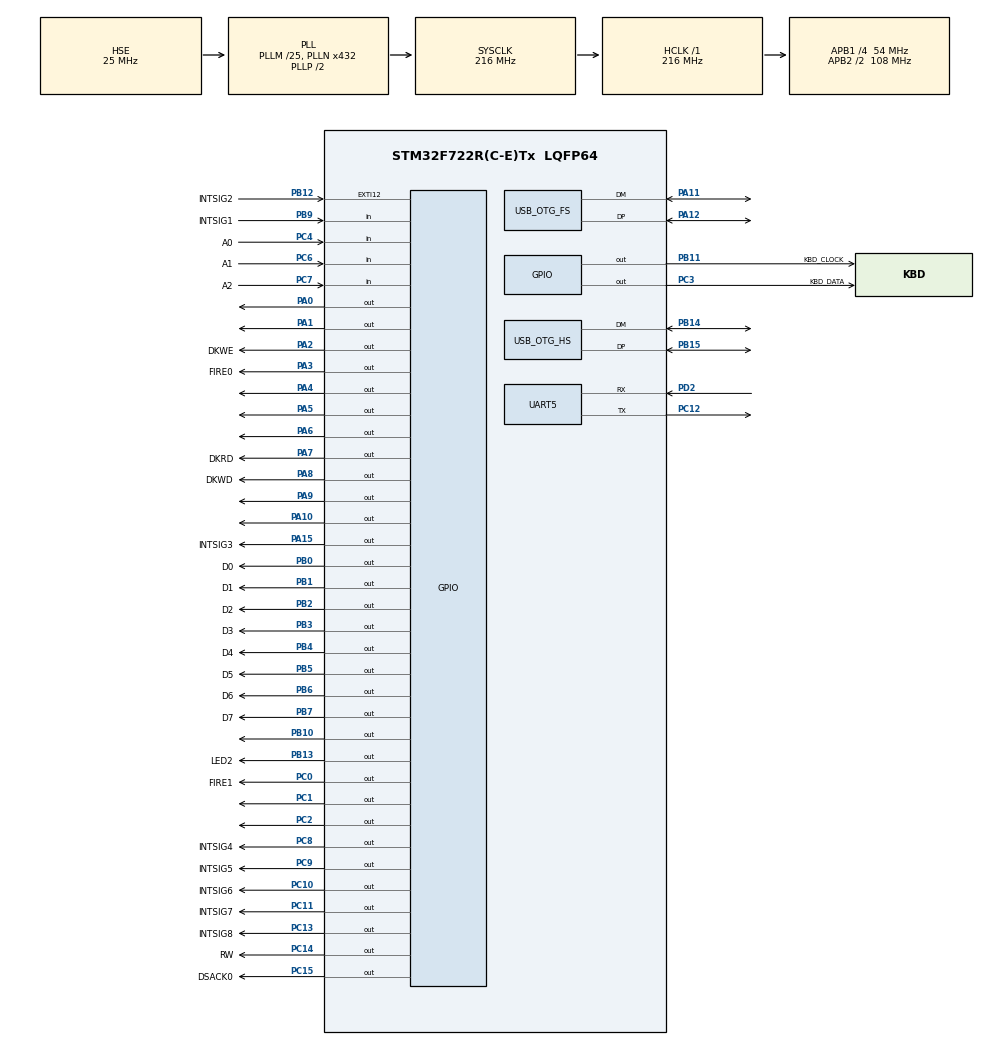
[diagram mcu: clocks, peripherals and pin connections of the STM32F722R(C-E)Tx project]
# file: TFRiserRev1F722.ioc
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Mcu.Family=STM32F7
Mcu.Name=STM32F722R(C-E)Tx
Mcu.Package=LQFP64
NVIC.EXTI15_10_IRQn=true\:0\:0\:false\:false\:true\:true\:true
NVIC.OTG_FS_IRQn=true\:0\:0\:false\:false\:true\:false\:true
NVIC.OTG_HS_IRQn=true\:0\:0\:false\:false\:true\:false\:true
NVIC.PriorityGroup=NVIC_PRIORITYGROUP_4
PA0-WKUP.GPIO_ModeDefaultOutputPP=GPIO_MODE_OUTPUT_OD
PA0-WKUP.PinState=GPIO_PIN_SET
PA0-WKUP.Signal=GPIO_Output
PA1.GPIO_ModeDefaultOutputPP=GPIO_MODE_OUTPUT_OD
PA1.GPIO_PuPd=GPIO_NOPULL
PA1.PinState=GPIO_PIN_SET
PA1.Signal=GPIO_Output
PA10.GPIO_ModeDefaultOutputPP=GPIO_MODE_OUTPUT_OD
PA10.PinState=GPIO_PIN_SET
PA10.Signal=GPIO_Output
PA11.Mode=Host_Only
PA11.Signal=USB_OTG_FS_DM
PA12.Mode=Host_Only
PA12.Signal=USB_OTG_FS_DP
PA13.Mode=Serial_Wire
PA13.Signal=SYS_JTMS-SWDIO
PA14.Mode=Serial_Wire
PA14.Signal=SYS_JTCK-SWCLK
PA15.GPIO_Label=INTSIG3
PA15.GPIO_ModeDefaultOutputPP=GPIO_MODE_OUTPUT_OD
PA15.PinState=GPIO_PIN_SET
PA15.Signal=GPIO_Output
PA2.GPIO_Label=DKWE
PA2.GPIO_ModeDefaultOutputPP=GPIO_MODE_OUTPUT_OD
PA2.PinState=GPIO_PIN_SET
PA2.Signal=GPIO_Output
PA3.GPIO_Label=FIRE0
PA3.GPIO_ModeDefaultOutputPP=GPIO_MODE_OUTPUT_OD
PA3.PinState=GPIO_PIN_SET
PA3.Signal=GPIO_Output
PA4.GPIO_ModeDefaultOutputPP=GPIO_MODE_OUTPUT_OD
PA4.PinState=GPIO_PIN_SET
PA4.Signal=GPIO_Output
PA5.GPIO_ModeDefaultOutputPP=GPIO_MODE_OUTPUT_OD
PA5.PinState=GPIO_PIN_SET
PA5.Signal=GPIO_Output
PA6.GPIO_ModeDefaultOutputPP=GPIO_MODE_OUTPUT_OD
PA6.GPIO_PuPd=GPIO_NOPULL
PA6.PinState=GPIO_PIN_SET
PA6.Signal=GPIO_Output
PA7.GPIO_Label=DKRD
PA7.GPIO_ModeDefaultOutputPP=GPIO_MODE_OUTPUT_OD
PA7.PinState=GPIO_PIN_SET
PA7.Signal=GPIO_Output
PA8.GPIO_Label=DKWD
PA8.GPIO_ModeDefaultOutputPP=GPIO_MODE_OUTPUT_OD
PA8.PinState=GPIO_PIN_SET
PA8.Signal=GPIO_Output
PA9.GPIO_ModeDefaultOutputPP=GPIO_MODE_OUTPUT_OD
PA9.PinState=GPIO_PIN_SET
PA9.Signal=GPIO_Output
PB0.GPIO_Label=D0
PB0.GPIO_ModeDefaultOutputPP=GPIO_MODE_OUTPUT_OD
PB0.GPIO_Speed=GPIO_SPEED_FREQ_HIGH
PB0.PinState=GPIO_PIN_SET
PB0.Signal=GPIO_Output
PB1.GPIO_Label=D1
PB1.GPIO_ModeDefaultOutputPP=GPIO_MODE_OUTPUT_OD
PB1.GPIO_Speed=GPIO_SPEED_FREQ_HIGH
PB1.PinState=GPIO_PIN_SET
PB1.Signal=GPIO_Output
PB10.GPIO_ModeDefaultOutputPP=GPIO_MODE_OUTPUT_OD
PB10.PinState=GPIO_PIN_SET
PB10.Signal=GPIO_Output
PB11.GPIO_Label=KBD_CLOCK
PB11.Signal=GPIO_Output
PB12.GPIO_Label=INTSIG2
PB12.Signal=GPXTI12
PB13.GPIO_Label=LED2
PB13.GPIO_ModeDefaultOutputPP=GPIO_MODE_OUTPUT_OD
PB13.PinState=GPIO_PIN_SET
PB13.Signal=GPIO_Output
PB14.Mode=Internal_Phy_Host
PB14.Signal=USB_OTG_HS_DM
PB15.Mode=Internal_Phy_Host
PB15.Signal=USB_OTG_HS_DP
PB2.GPIO_Label=D2
PB2.GPIO_ModeDefaultOutputPP=GPIO_MODE_OUTPUT_OD
PB2.GPIO_Speed=GPIO_SPEED_FREQ_HIGH
PB2.PinState=GPIO_PIN_SET
PB2.Signal=GPIO_Output
PB3.GPIO_Label=D3
PB3.GPIO_ModeDefaultOutputPP=GPIO_MODE_OUTPUT_OD
PB3.GPIO_Speed=GPIO_SPEED_FREQ_HIGH
PB3.PinState=GPIO_PIN_SET
PB3.Signal=GPIO_Output
PB4.GPIO_Label=D4
PB4.GPIO_ModeDefaultOutputPP=GPIO_MODE_OUTPUT_OD
PB4.GPIO_Speed=GPIO_SPEED_FREQ_HIGH
PB4.PinState=GPIO_PIN_SET
PB4.Signal=GPIO_Output
PB5.GPIO_Label=D5
PB5.GPIO_ModeDefaultOutputPP=GPIO_MODE_OUTPUT_OD
PB5.GPIO_Speed=GPIO_SPEED_FREQ_HIGH
PB5.PinState=GPIO_PIN_SET
PB5.Signal=GPIO_Output
PB6.GPIO_Label=D6
PB6.GPIO_ModeDefaultOutputPP=GPIO_MODE_OUTPUT_OD
PB6.GPIO_Speed=GPIO_SPEED_FREQ_HIGH
PB6.PinState=GPIO_PIN_SET
PB6.Signal=GPIO_Output
PB7.GPIO_Label=D7
PB7.GPIO_ModeDefaultOutputPP=GPIO_MODE_OUTPUT_OD
PB7.GPIO_Speed=GPIO_SPEED_FREQ_HIGH
PB7.PinState=GPIO_PIN_SET
PB7.Signal=GPIO_Output
PB9.GPIO_Label=INTSIG1
PB9.Signal=GPIO_Input
PC0.GPIO_Label=FIRE1
PC0.GPIO_ModeDefaultOutputPP=GPIO_MODE_OUTPUT_OD
PC0.PinState=GPIO_PIN_SET
PC0.Signal=GPIO_Output
PC1.GPIO_ModeDefaultOutputPP=GPIO_MODE_OUTPUT_OD
PC1.PinState=GPIO_PIN_SET
PC1.Signal=GPIO_Output
PC10.GPIO_Label=INTSIG6
PC10.GPIO_ModeDefaultOutputPP=GPIO_MODE_OUTPUT_OD
PC10.PinState=GPIO_PIN_SET
PC10.Signal=GPIO_Output
PC11.GPIO_Label=INTSIG7
PC11.GPIO_ModeDefaultOutputPP=GPIO_MODE_OUTPUT_OD
PC11.PinState=GPIO_PIN_SET
PC11.Signal=GPIO_Output
PC12.Mode=Asynchronous
PC12.Signal=UART5_TX
PC13.GPIO_Label=INTSIG8
PC13.GPIO_ModeDefaultOutputPP=GPIO_MODE_OUTPUT_OD
PC13.PinState=GPIO_PIN_SET
PC13.Signal=GPIO_Output
PC14-OSC32_IN.GPIO_Label=RW
PC14-OSC32_IN.GPIO_ModeDefaultOutputPP=GPIO_MODE_OUTPUT_OD
PC14-OSC32_IN.PinState=GPIO_PIN_SET
PC14-OSC32_IN.Signal=GPIO_Output
PC15-OSC32_OUT.GPIO_Label=DSACK0
PC15-OSC32_OUT.GPIO_ModeDefaultOutputPP=GPIO_MODE_OUTPUT_OD
PC15-OSC32_OUT.PinState=GPIO_PIN_SET
PC15-OSC32_OUT.Signal=GPIO_Output
PC2.GPIO_ModeDefaultOutputPP=GPIO_MODE_OUTPUT_OD
PC2.PinState=GPIO_PIN_SET
PC2.Signal=GPIO_Output
PC3.GPIO_Label=KBD_DATA
PC3.Signal=GPIO_Output
PC4.GPIO_Label=A0
PC4.Signal=GPIO_Input
PC6.GPIO_Label=A1
PC6.Signal=GPIO_Input
PC7.GPIO_Label=A2
PC7.Signal=GPIO_Input
PC8.GPIO_Label=INTSIG4
PC8.GPIO_ModeDefaultOutputPP=GPIO_MODE_OUTPUT_OD
PC8.PinState=GPIO_PIN_SET
PC8.Signal=GPIO_Output
PC9.GPIO_Label=INTSIG5
PC9.GPIO_ModeDefaultOutputPP=GPIO_MODE_OUTPUT_OD
PC9.PinState=GPIO_PIN_SET
PC9.Signal=GPIO_Output
PD2.Mode=Asynchronous
PD2.Signal=UART5_RX
PH0-OSC_IN.Mode=HSE-External-Oscillator
PH0-OSC_IN.Signal=RCC_OSC_IN
PH1-OSC_OUT.Mode=HSE-External-Oscillator
PH1-OSC_OUT.Signal=RCC_OSC_OUT
ProjectManager.HeapSize=0x2000
ProjectManager.StackSize=0x2000
ProjectManager.TargetToolchain=STM32CubeIDE
RCC.AHBFreq_Value=216000000
RCC.APB1CLKDivider=RCC_HCLK_DIV4
RCC.APB1Freq_Value=54000000
RCC.APB1TimFreq_Value=108000000
RCC.APB2CLKDivider=RCC_HCLK_DIV2
RCC.APB2Freq_Value=108000000
RCC.APB2TimFreq_Value=216000000
RCC.CortexFreq_Value=216000000
RCC.HCLKFreq_Value=216000000
RCC.HSE_Timout=1000
RCC.HSE_VALUE=25000000
RCC.HSI_VALUE=16000000
RCC.LSE_VALUE=32768
RCC.PLLM=25
RCC.PLLN=432
RCC.PLLQ=9
RCC.PWREXT_OverDrive=PWREXT_OverDrive_ACTIVATED
RCC.PWR_Regulator_Voltage_Scale=PWR_REGULATOR_VOLTAGE_SCALE1
RCC.SYSCLKFreq_VALUE=216000000
RCC.SYSCLKSource=RCC_SYSCLKSOURCE_PLLCLK
RCC.USBFreq_Value=48000000
RCC.VCOOutputFreq_Value=432000000
USB_HOST.USBH_HandleTypeDef-HID_FS=hUsbHostFS
USB_HOST.USBH_HandleTypeDef-HID_HS=hUsbHostHS
USB_HOST.VirtualModeFS=Hid
USB_HOST.VirtualModeHS=Hid
USB_OTG_FS.VirtualMode=Host_Only
USB_OTG_FS.phy_itface=HCD_PHY_EMBEDDED
USB_OTG_HS.VirtualMode-Internal_Phy_Host=Int_Phy_Host
VP_USB_HOST_VS_USB_HOST_HID_FS.Mode=HID_FS
VP_USB_HOST_VS_USB_HOST_HID_HS.Mode=HID_HS
board=custom

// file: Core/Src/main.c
/* USER CODE BEGIN Header */
/**
  ******************************************************************************
  * @file           : main.c
  * @brief          : Main program body
  ******************************************************************************
  * @attention
  *
  * <h2><center>&copy; Copyright (c) 2020 STMicroelectronics.
  * All rights reserved.</center></h2>
  *
  * This software component is licensed by ST under BSD 3-Clause license,
  * the "License"; You may not use this file except in compliance with the
  * License. You may obtain a copy of the License at:
  *                        opensource.org/licenses/BSD-3-Clause
  *
  ******************************************************************************
  */
/* USER CODE END Header */
#include "main.h"
#include "usb_host.h"

/* USER CODE BEGIN Includes */
#include "dwt_delay.h"
#include "amiga.h"

/* USER CODE END Includes */

/* USER CODE BEGIN PD */
 HID_USBDevicesTypeDef* usb;
 HID_KEYBD_Info_TypeDef *k_pinfo;

/* USER CODE END PD */

UART_HandleTypeDef huart5;

void SystemClock_Config(void);
static void MX_GPIO_Init(void);
static void MX_UART5_Init(void);
void MX_USB_HOST_Process(void);

/* USER CODE BEGIN 0 */

static void usb_keyboard_led(USBH_HandleTypeDef *usbhost, keyboard_led_t ld)
{
	keyboard_led_t led = ld;
	USBH_StatusTypeDef status;
	int retrygood = 1;
	if (usbhost != NULL)
	{
		for (;;)
		{
			status = USBH_HID_SetReport(usbhost, 0x02, 0x00, &led, 1);
			if (status == USBH_OK)
				retrygood--;
			if (retrygood <= 0)
				break;
		}
	}
}

static void usb_keyboard_led_init(USBH_HandleTypeDef * usbhost)
{
	keyboard_led_t led = CAPS_LOCK_LED | NUM_LOCK_LED | SCROLL_LOCK_LED;
	int n;
	if (usbhost != NULL)
	{
		for (n = 0; n < 2; n++)
		{
			usb_keyboard_led(usbhost, led);
			HAL_Delay(250);
			usb_keyboard_led(usbhost, 0);
			HAL_Delay(125);
		}
		/* Default leds off */
		usb_keyboard_led(usbhost, 0);
	}
}

/* USER CODE END 0 */

int main(void)
{
  /* USER CODE BEGIN 1 */
	led_status_t stat;
	uint8_t do_led = 0;
	uint8_t KeyboardLedInit = 0;
	static keyboard_led_t keyboard_led = 0;

  /* USER CODE END 1 */

  /* MCU Configuration--------------------------------------------------------*/

  /* Reset of all peripherals, Initializes the Flash interface and the Systick. */
  HAL_Init();

  /* Configure the system clock */
  SystemClock_Config();

  /* Initialize all configured peripherals */
  MX_GPIO_Init();
  MX_UART5_Init();
  MX_USB_HOST_Init();
  /* USER CODE BEGIN 2 */
  DWT_Init();

  amikb_startup();
  amikb_ready(0);

  HAL_GPIO_WritePin(LED2_GPIO_Port, LED2_Pin, GPIO_PIN_SET);
  HAL_GPIO_WritePin(KBD_CLOCK_GPIO_Port, KBD_CLOCK_Pin, GPIO_PIN_SET);
  HAL_GPIO_WritePin(KBD_DATA_GPIO_Port, KBD_DATA_Pin, GPIO_PIN_SET);
  keyboard_code_t keycode = {0};

  /* USER CODE END 2 */

  /* Infinite loop */
  while (1)
  {
    MX_USB_HOST_Process();

    /* USER CODE BEGIN 3 */

       usb = (HID_USBDevicesTypeDef*) USBH_HID_GetUSBDev();

    if (usb->keyboardusbhost!=NULL)
    {
    	if (KeyboardLedInit==0)
    	{
    		usb_keyboard_led_init(usb->keyboardusbhost);
    		//restore LED status on new keyboard.
    		usb_keyboard_led(usb->keyboardusbhost, keyboard_led);
    		KeyboardLedInit++;
    	}

    	k_pinfo = usb->keyboard ;
    	int i = 0;

    	if (usb!=NULL && k_pinfo != NULL)
    	{
     		keycode.lctrl = k_pinfo->lctrl;
    		keycode.lshift = k_pinfo->lshift;
    		keycode.lalt = k_pinfo->lalt;
    		keycode.lgui = k_pinfo->lgui;
    		keycode.rctrl = k_pinfo->rctrl;
    		keycode.rshift = k_pinfo->rshift;
    		keycode.ralt = k_pinfo->ralt;
    		keycode.rgui = k_pinfo->rgui;
    		for (i = 0; i < KEY_PRESSED_MAX; i++)
    		{
    			keycode.keys[i] = k_pinfo->keys[i];
    		}
    		HAL_GPIO_TogglePin(LED2_GPIO_Port, LED2_Pin);
    		stat = amikb_process(&keycode);

    		switch (stat)
    							{
    								case LED_CAPS_LOCK_OFF:
    									keyboard_led &= ~CAPS_LOCK_LED;
    									do_led = 1;
    									break;
    								case LED_CAPS_LOCK_ON:
    									keyboard_led |= CAPS_LOCK_LED;
    									do_led = 1;
    									break;
    								case LED_NUM_LOCK_OFF:
    									keyboard_led &= ~NUM_LOCK_LED;
    									do_led = 1;
    									break;
    								case LED_NUM_LOCK_ON:
    									keyboard_led |= NUM_LOCK_LED;
    									do_led = 1;
    									break;
    								case LED_SCROLL_LOCK_OFF:
    									keyboard_led &= ~SCROLL_LOCK_LED;
    									do_led = 1;
    									break;
    								case LED_SCROLL_LOCK_ON:
    									keyboard_led |= SCROLL_LOCK_LED;
    									do_led = 1;
    									break;
    								case LED_RESET_BLINK:
    									usb_keyboard_led_init(usb->keyboardusbhost);
    									do_led = 0;
    									break;
    								default:
    								case NO_LED:
    									do_led = 0;
    									break;
    							}
    							// ...and let the led management to be done!
    							if (do_led)
    							{
    								usb_keyboard_led(usb->keyboardusbhost, keyboard_led);
    							}

    	}
    }
    else
    {
    	//Keyboard is deinit.

    	KeyboardLedInit = 0;

    }
    //clear usbDevHost
    usb->keyboardusbhost = NULL;

    if(usb->mouse!=NULL)
    {
    	HAL_GPIO_WritePin(INTSIG1_GPIO_Port, INTSIG1_Pin, GPIO_PIN_SET);
    	DWT_Delay(1);
    	HAL_GPIO_WritePin(INTSIG1_GPIO_Port, INTSIG1_Pin, GPIO_PIN_RESET);

    }

  }
  /* USER CODE END 3 */
}

void SystemClock_Config(void)
{
  RCC_OscInitTypeDef RCC_OscInitStruct = {0};
  RCC_ClkInitTypeDef RCC_ClkInitStruct = {0};
  RCC_PeriphCLKInitTypeDef PeriphClkInitStruct = {0};

  /** Configure the main internal regulator output voltage
  */
  __HAL_RCC_PWR_CLK_ENABLE();
  __HAL_PWR_VOLTAGESCALING_CONFIG(PWR_REGULATOR_VOLTAGE_SCALE1);
  /** Initializes the RCC Oscillators according to the specified parameters
  * in the RCC_OscInitTypeDef structure.
  */
  RCC_OscInitStruct.OscillatorType = RCC_OSCILLATORTYPE_HSE;
  RCC_OscInitStruct.HSEState = RCC_HSE_ON;
  RCC_OscInitStruct.PLL.PLLState = RCC_PLL_ON;
  RCC_OscInitStruct.PLL.PLLSource = RCC_PLLSOURCE_HSE;
  RCC_OscInitStruct.PLL.PLLM = 25;
  RCC_OscInitStruct.PLL.PLLN = 432;
  RCC_OscInitStruct.PLL.PLLP = RCC_PLLP_DIV2;
  RCC_OscInitStruct.PLL.PLLQ = 9;
  if (HAL_RCC_OscConfig(&RCC_OscInitStruct) != HAL_OK)
  {
    Error_Handler();
  }
  /** Activate the Over-Drive mode
  */
  if (HAL_PWREx_EnableOverDrive() != HAL_OK)
  {
    Error_Handler();
  }
  /** Initializes the CPU, AHB and APB buses clocks
  */
  RCC_ClkInitStruct.ClockType = RCC_CLOCKTYPE_HCLK|RCC_CLOCKTYPE_SYSCLK
                              |RCC_CLOCKTYPE_PCLK1|RCC_CLOCKTYPE_PCLK2;
  RCC_ClkInitStruct.SYSCLKSource = RCC_SYSCLKSOURCE_PLLCLK;
  RCC_ClkInitStruct.AHBCLKDivider = RCC_SYSCLK_DIV1;
  RCC_ClkInitStruct.APB1CLKDivider = RCC_HCLK_DIV4;
  RCC_ClkInitStruct.APB2CLKDivider = RCC_HCLK_DIV2;

  if (HAL_RCC_ClockConfig(&RCC_ClkInitStruct, FLASH_LATENCY_7) != HAL_OK)
  {
    Error_Handler();
  }
  PeriphClkInitStruct.PeriphClockSelection = RCC_PERIPHCLK_UART5|RCC_PERIPHCLK_CLK48;
  PeriphClkInitStruct.Uart5ClockSelection = RCC_UART5CLKSOURCE_PCLK1;
  PeriphClkInitStruct.Clk48ClockSelection = RCC_CLK48SOURCE_PLL;
  if (HAL_RCCEx_PeriphCLKConfig(&PeriphClkInitStruct) != HAL_OK)
  {
    Error_Handler();
  }
}

static void MX_UART5_Init(void)
{

  huart5.Instance = UART5;
  huart5.Init.BaudRate = 115200;
  huart5.Init.WordLength = UART_WORDLENGTH_8B;
  huart5.Init.StopBits = UART_STOPBITS_1;
  huart5.Init.Parity = UART_PARITY_NONE;
  huart5.Init.Mode = UART_MODE_TX_RX;
  huart5.Init.HwFlowCtl = UART_HWCONTROL_NONE;
  huart5.Init.OverSampling = UART_OVERSAMPLING_16;
  huart5.Init.OneBitSampling = UART_ONE_BIT_SAMPLE_DISABLE;
  huart5.AdvancedInit.AdvFeatureInit = UART_ADVFEATURE_NO_INIT;
  if (HAL_UART_Init(&huart5) != HAL_OK)
  {
    Error_Handler();
  }

}

static void MX_GPIO_Init(void)
{
  GPIO_InitTypeDef GPIO_InitStruct = {0};

  /* GPIO Ports Clock Enable */
  __HAL_RCC_GPIOC_CLK_ENABLE();
  __HAL_RCC_GPIOH_CLK_ENABLE();
  __HAL_RCC_GPIOA_CLK_ENABLE();
  __HAL_RCC_GPIOB_CLK_ENABLE();
  __HAL_RCC_GPIOD_CLK_ENABLE();

  /*Configure GPIO pin Output Level */
  HAL_GPIO_WritePin(GPIOC, INTSIG8_Pin|RW_Pin|DSACK0_Pin|FIRE1_Pin
                          |GPIO_PIN_1|GPIO_PIN_2|INTSIG4_Pin|INTSIG5_Pin
                          |INTSIG6_Pin|INTSIG7_Pin, GPIO_PIN_SET);

  /*Configure GPIO pin Output Level */
  HAL_GPIO_WritePin(KBD_DATA_GPIO_Port, KBD_DATA_Pin, GPIO_PIN_RESET);

  /*Configure GPIO pin Output Level */
  HAL_GPIO_WritePin(GPIOA, GPIO_PIN_0|GPIO_PIN_1|DKWE_Pin|FIRE0_Pin
                          |GPIO_PIN_4|GPIO_PIN_5|GPIO_PIN_6|DKRD_Pin
                          |DKWD_Pin|GPIO_PIN_9|GPIO_PIN_10|INTSIG3_Pin, GPIO_PIN_SET);

  /*Configure GPIO pin Output Level */
  HAL_GPIO_WritePin(GPIOB, D0_Pin|D1_Pin|D2_Pin|GPIO_PIN_10
                          |LED2_Pin|D3_Pin|D4_Pin|D5_Pin
                          |D6_Pin|D7_Pin, GPIO_PIN_SET);

  /*Configure GPIO pin Output Level */
  HAL_GPIO_WritePin(KBD_CLOCK_GPIO_Port, KBD_CLOCK_Pin, GPIO_PIN_RESET);

  /*Configure GPIO pins : INTSIG8_Pin RW_Pin DSACK0_Pin FIRE1_Pin
                           PC1 PC2 INTSIG4_Pin INTSIG5_Pin
                           INTSIG6_Pin INTSIG7_Pin */
  GPIO_InitStruct.Pin = INTSIG8_Pin|RW_Pin|DSACK0_Pin|FIRE1_Pin
                          |GPIO_PIN_1|GPIO_PIN_2|INTSIG4_Pin|INTSIG5_Pin
                          |INTSIG6_Pin|INTSIG7_Pin;
  GPIO_InitStruct.Mode = GPIO_MODE_OUTPUT_OD;
  GPIO_InitStruct.Pull = GPIO_NOPULL;
  GPIO_InitStruct.Speed = GPIO_SPEED_FREQ_LOW;
  HAL_GPIO_Init(GPIOC, &GPIO_InitStruct);

  /*Configure GPIO pin : KBD_DATA_Pin */
  GPIO_InitStruct.Pin = KBD_DATA_Pin;
  GPIO_InitStruct.Mode = GPIO_MODE_OUTPUT_PP;
  GPIO_InitStruct.Pull = GPIO_NOPULL;
  GPIO_InitStruct.Speed = GPIO_SPEED_FREQ_LOW;
  HAL_GPIO_Init(KBD_DATA_GPIO_Port, &GPIO_InitStruct);

  /*Configure GPIO pins : PA0 PA1 DKWE_Pin FIRE0_Pin
                           PA4 PA5 PA6 DKRD_Pin
                           DKWD_Pin PA9 PA10 INTSIG3_Pin */
  GPIO_InitStruct.Pin = GPIO_PIN_0|GPIO_PIN_1|DKWE_Pin|FIRE0_Pin
                          |GPIO_PIN_4|GPIO_PIN_5|GPIO_PIN_6|DKRD_Pin
                          |DKWD_Pin|GPIO_PIN_9|GPIO_PIN_10|INTSIG3_Pin;
  GPIO_InitStruct.Mode = GPIO_MODE_OUTPUT_OD;
  GPIO_InitStruct.Pull = GPIO_NOPULL;
  GPIO_InitStruct.Speed = GPIO_SPEED_FREQ_LOW;
  HAL_GPIO_Init(GPIOA, &GPIO_InitStruct);

  /*Configure GPIO pins : A0_Pin A1_Pin A2_Pin */
  GPIO_InitStruct.Pin = A0_Pin|A1_Pin|A2_Pin;
  GPIO_InitStruct.Mode = GPIO_MODE_INPUT;
  GPIO_InitStruct.Pull = GPIO_NOPULL;
  HAL_GPIO_Init(GPIOC, &GPIO_InitStruct);

  /*Configure GPIO pins : D0_Pin D1_Pin D2_Pin D3_Pin
                           D4_Pin D5_Pin D6_Pin D7_Pin */
  GPIO_InitStruct.Pin = D0_Pin|D1_Pin|D2_Pin|D3_Pin
                          |D4_Pin|D5_Pin|D6_Pin|D7_Pin;
  GPIO_InitStruct.Mode = GPIO_MODE_OUTPUT_OD;
  GPIO_InitStruct.Pull = GPIO_NOPULL;
  GPIO_InitStruct.Speed = GPIO_SPEED_FREQ_HIGH;
  HAL_GPIO_Init(GPIOB, &GPIO_InitStruct);

  /*Configure GPIO pins : PB10 LED2_Pin */
  GPIO_InitStruct.Pin = GPIO_PIN_10|LED2_Pin;
  GPIO_InitStruct.Mode = GPIO_MODE_OUTPUT_OD;
  GPIO_InitStruct.Pull = GPIO_NOPULL;
  GPIO_InitStruct.Speed = GPIO_SPEED_FREQ_LOW;
  HAL_GPIO_Init(GPIOB, &GPIO_InitStruct);

  /*Configure GPIO pin : KBD_CLOCK_Pin */
  GPIO_InitStruct.Pin = KBD_CLOCK_Pin;
  GPIO_InitStruct.Mode = GPIO_MODE_OUTPUT_PP;
  GPIO_InitStruct.Pull = GPIO_NOPULL;
  GPIO_InitStruct.Speed = GPIO_SPEED_FREQ_LOW;
  HAL_GPIO_Init(KBD_CLOCK_GPIO_Port, &GPIO_InitStruct);

  /*Configure GPIO pin : INTSIG2_Pin */
  GPIO_InitStruct.Pin = INTSIG2_Pin;
  GPIO_InitStruct.Mode = GPIO_MODE_IT_RISING;
  GPIO_InitStruct.Pull = GPIO_NOPULL;
  HAL_GPIO_Init(INTSIG2_GPIO_Port, &GPIO_InitStruct);

  /*Configure GPIO pin : INTSIG1_Pin */
  GPIO_InitStruct.Pin = INTSIG1_Pin;
  GPIO_InitStruct.Mode = GPIO_MODE_INPUT;
  GPIO_InitStruct.Pull = GPIO_NOPULL;
  HAL_GPIO_Init(INTSIG1_GPIO_Port, &GPIO_InitStruct);

  /* EXTI interrupt init*/
  HAL_NVIC_SetPriority(EXTI15_10_IRQn, 0, 0);
  HAL_NVIC_EnableIRQ(EXTI15_10_IRQn);

}

/* USER CODE BEGIN 4 */

void HAL_GPIO_EXTI_Callback(uint16_t GPIO_Pin)
{
	if(HAL_GPIO_ReadPin(RW_GPIO_Port, RW_Pin))
	{
	GPIOB->OTYPER = 0x00; //Set up Data GPIOB in pull-push mode.
	GPIOB->BSRR = 0x0000FFFF; //Set Data pins to GPIO_PIN_SET

	//I had DSACK0 reconfigure using registers to pushpull and set up to 1
	//as it was not working I deleted it ...

	GPIOB->OTYPER = 0xFF; //Set up data GPIOB in open-drain mode.
	GPIOB->BSRR = 0x00000000; ////Set Data pins to default state
	}

    // This was to check
	//if (GPIO_Pin == INTSIG2_Pin) //Process RTC
	//	{

		//	uint inter = HAL_GPIO_ReadPin(A4_GPIO_Port, A4_Pin);
		//	uint8_t address = 0;
			//uint8_t _RW = HAL_GPIO_ReadPin(RW_GPIO_Port, RW_Pin);
		//	address =  HAL_GPIO_ReadPin(A5_GPIO_Port, A5_Pin);
		//	address = (address<<1)|HAL_GPIO_ReadPin(A4_GPIO_Port, A4_Pin);
	//		address = (address<<1)|HAL_GPIO_ReadPin(A3_GPIO_Port, A3_Pin);
		//	address = (address<<1)|HAL_GPIO_ReadPin(A2_GPIO_Port, A2_Pin);

		//	uint8_t _RW = HAL_GPIO_ReadPin(RW_GPIO_Port, RW_Pin);
	//if (_RW==1)
	//{
		//countR++;
	//}
	//else
	//{
		//countW++;
	//}

		//}

}

/* USER CODE END 4 */

void Error_Handler(void)
{
}

/************************ (C) COPYRIGHT STMicroelectronics *****END OF FILE****/
